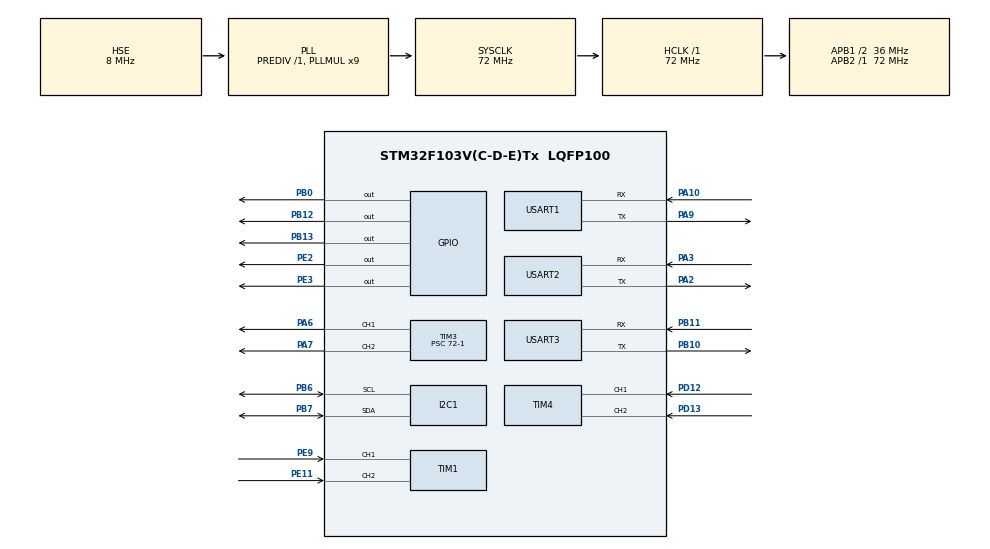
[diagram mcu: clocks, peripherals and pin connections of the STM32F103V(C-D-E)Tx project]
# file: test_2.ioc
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Dma.I2C1_RX.2.Direction=DMA_PERIPH_TO_MEMORY
Dma.I2C1_RX.2.Instance=DMA1_Channel7
Dma.I2C1_RX.2.MemDataAlignment=DMA_MDATAALIGN_BYTE
Dma.I2C1_RX.2.MemInc=DMA_MINC_ENABLE
Dma.I2C1_RX.2.Mode=DMA_NORMAL
Dma.I2C1_RX.2.PeriphDataAlignment=DMA_PDATAALIGN_BYTE
Dma.I2C1_RX.2.PeriphInc=DMA_PINC_DISABLE
Dma.I2C1_RX.2.Priority=DMA_PRIORITY_LOW
Dma.I2C1_TX.3.Direction=DMA_MEMORY_TO_PERIPH
Dma.I2C1_TX.3.Instance=DMA1_Channel6
Dma.I2C1_TX.3.MemDataAlignment=DMA_MDATAALIGN_BYTE
Dma.I2C1_TX.3.MemInc=DMA_MINC_ENABLE
Dma.I2C1_TX.3.Mode=DMA_NORMAL
Dma.I2C1_TX.3.PeriphDataAlignment=DMA_PDATAALIGN_BYTE
Dma.I2C1_TX.3.PeriphInc=DMA_PINC_DISABLE
Dma.I2C1_TX.3.Priority=DMA_PRIORITY_LOW
Dma.Request0=USART1_RX
Dma.Request1=USART1_TX
Dma.Request2=I2C1_RX
Dma.Request3=I2C1_TX
Dma.USART1_RX.0.Direction=DMA_PERIPH_TO_MEMORY
Dma.USART1_RX.0.Instance=DMA1_Channel5
Dma.USART1_RX.0.MemDataAlignment=DMA_MDATAALIGN_BYTE
Dma.USART1_RX.0.MemInc=DMA_MINC_ENABLE
Dma.USART1_RX.0.Mode=DMA_NORMAL
Dma.USART1_RX.0.PeriphDataAlignment=DMA_PDATAALIGN_BYTE
Dma.USART1_RX.0.PeriphInc=DMA_PINC_DISABLE
Dma.USART1_RX.0.Priority=DMA_PRIORITY_LOW
Dma.USART1_TX.1.Direction=DMA_MEMORY_TO_PERIPH
Dma.USART1_TX.1.Instance=DMA1_Channel4
Dma.USART1_TX.1.MemDataAlignment=DMA_MDATAALIGN_BYTE
Dma.USART1_TX.1.MemInc=DMA_MINC_ENABLE
Dma.USART1_TX.1.Mode=DMA_NORMAL
Dma.USART1_TX.1.PeriphDataAlignment=DMA_PDATAALIGN_BYTE
Dma.USART1_TX.1.PeriphInc=DMA_PINC_DISABLE
Dma.USART1_TX.1.Priority=DMA_PRIORITY_LOW
I2C1.I2C_Mode=I2C_Fast
Mcu.Family=STM32F1
Mcu.Name=STM32F103V(C-D-E)Tx
Mcu.Package=LQFP100
NVIC.DMA1_Channel4_IRQn=true\:0\:0\:false\:false\:true\:false\:true\:true
NVIC.DMA1_Channel5_IRQn=true\:0\:0\:false\:false\:true\:false\:true\:true
NVIC.DMA1_Channel6_IRQn=true\:0\:0\:false\:false\:true\:false\:true\:true
NVIC.DMA1_Channel7_IRQn=true\:0\:0\:false\:false\:true\:false\:true\:true
NVIC.I2C1_ER_IRQn=true\:0\:0\:false\:false\:true\:true\:true\:true
NVIC.I2C1_EV_IRQn=true\:0\:0\:false\:false\:true\:true\:true\:true
NVIC.PriorityGroup=NVIC_PRIORITYGROUP_4
NVIC.TIM2_IRQn=true\:0\:0\:false\:false\:true\:true\:true\:true
NVIC.USART1_IRQn=true\:0\:0\:false\:false\:true\:false\:true\:true
NVIC.USART2_IRQn=true\:0\:0\:false\:false\:true\:true\:true\:true
NVIC.USART3_IRQn=true\:0\:0\:false\:false\:true\:true\:true\:true
OSC_IN.Mode=HSE-External-Oscillator
OSC_IN.Signal=RCC_OSC_IN
OSC_OUT.Mode=HSE-External-Oscillator
OSC_OUT.Signal=RCC_OSC_OUT
PA10.Mode=Asynchronous
PA10.Signal=USART1_RX
PA13.Mode=Serial_Wire
PA13.Signal=SYS_JTMS-SWDIO
PA14.Mode=Serial_Wire
PA14.Signal=SYS_JTCK-SWCLK
PA2.Mode=Asynchronous
PA2.Signal=USART2_TX
PA3.Mode=Asynchronous
PA3.Signal=USART2_RX
PA6.Signal=S_TIM3_CH1
PA7.Signal=S_TIM3_CH2
PA9.Mode=Asynchronous
PA9.Signal=USART1_TX
PB0.PinState=GPIO_PIN_RESET
PB0.Signal=GPIO_Output
PB10.Mode=Asynchronous
PB10.Signal=USART3_TX
PB11.Mode=Asynchronous
PB11.Signal=USART3_RX
PB12.Signal=GPIO_Output
PB13.Signal=GPIO_Output
PB6.Mode=I2C
PB6.Signal=I2C1_SCL
PB7.Mode=I2C
PB7.Signal=I2C1_SDA
PD12.GPIO_PuPd=GPIO_PULLUP
PD12.Signal=S_TIM4_CH1
PD13.GPIO_PuPd=GPIO_PULLUP
PD13.Signal=S_TIM4_CH2
PE11.GPIO_PuPd=GPIO_PULLUP
PE11.Signal=S_TIM1_CH2
PE2.Signal=GPIO_Output
PE3.Signal=GPIO_Output
PE9.GPIO_PuPd=GPIO_PULLUP
PE9.Signal=S_TIM1_CH1
ProjectManager.HeapSize=0x200
ProjectManager.StackSize=0x400
ProjectManager.TargetToolchain=MDK-ARM V5.32
RCC.AHBFreq_Value=72000000
RCC.APB1CLKDivider=RCC_HCLK_DIV2
RCC.APB1Freq_Value=36000000
RCC.APB1TimFreq_Value=72000000
RCC.APB2Freq_Value=72000000
RCC.APB2TimFreq_Value=72000000
RCC.HCLKFreq_Value=72000000
RCC.PLLMUL=RCC_PLL_MUL9
RCC.PLLSourceVirtual=RCC_PLLSOURCE_HSE
RCC.SYSCLKFreq_VALUE=72000000
RCC.SYSCLKSource=RCC_SYSCLKSOURCE_PLLCLK
RCC.USBFreq_Value=72000000
SH.S_TIM1_CH1.0=TIM1_CH1,Encoder_Interface
SH.S_TIM1_CH2.0=TIM1_CH2,Encoder_Interface
SH.S_TIM3_CH1.0=TIM3_CH1,PWM Generation1 CH1
SH.S_TIM3_CH2.0=TIM3_CH2,PWM Generation2 CH2
SH.S_TIM4_CH1.0=TIM4_CH1,Encoder_Interface
SH.S_TIM4_CH2.0=TIM4_CH2,Encoder_Interface
TIM1.EncoderMode=TIM_ENCODERMODE_TI12
TIM1.IC1Filter=6
TIM1.IC2Filter=6
TIM1.TIM_MasterSlaveMode=TIM_MASTERSLAVEMODE_ENABLE
TIM2.Period=10-1
TIM2.Prescaler=7200-1
TIM3.Channel-PWM\ Generation1\ CH1=TIM_CHANNEL_1
TIM3.Channel-PWM\ Generation2\ CH2=TIM_CHANNEL_2
TIM3.Period=1000-1
TIM3.Prescaler=72-1
TIM3.TIM_MasterSlaveMode=TIM_MASTERSLAVEMODE_ENABLE
TIM4.EncoderMode=TIM_ENCODERMODE_TI12
USART1.VirtualMode=VM_ASYNC
USART2.VirtualMode=VM_ASYNC
USART3.VirtualMode=VM_ASYNC
VP_TIM2_VS_ClockSourceINT.Mode=Internal
VP_TIM3_VS_ClockSourceINT.Mode=Internal
board=custom

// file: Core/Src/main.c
/* USER CODE BEGIN Header */
/**
  ******************************************************************************
  * @file           : main.c
  * @brief          : Main program body
  ******************************************************************************
  * @attention
  *
  * Copyright (c) 2024 STMicroelectronics.
  * All rights reserved.
  *
  * This software is licensed under terms that can be found in the LICENSE file
  * in the root directory of this software component.
  * If no LICENSE file comes with this software, it is provided AS-IS.
  *
  ******************************************************************************
  */
/* USER CODE END Header */
#include "main.h"
#include "dma.h"
#include "i2c.h"
#include "tim.h"
#include "usart.h"
#include "gpio.h"

/* USER CODE BEGIN Includes */
#include "sw_i2c.h"
#include "Moto.h"
#include <stdio.h>
#include <string.h>

/* USER CODE END Includes */

/* USER CODE BEGIN PTD */
sw_i2c_interface_t i2c_interface =
{
  .sda_in = sda_in,
  .scl_out = scl_out,
  .sda_out = sda_out,
  .user_data = 0, //用户数据，可在输入输出函数里得到
};

Moto_PIDController pid_Left;
Moto_PIDController pid_Right;
/* USER CODE END PTD */

/* USER CODE BEGIN PV */

// uint8_t graySensor_state = 0;
// uint8_t grayData;
volatile uint8_t count;
uint8_t scan_addr[128];
uint8_t gray_sensor[8];

// 串口接收数据�?????'a' openmv接收到单片机命令，正在应答；'fx' openmv在开始阶段识别的数据，x为目标房间号�?????
//             'dxx' openmv在寻找房间时识别的数据，xx为转向命令，l左转，r右转，s直走(只转向一次发x0)�?????
uint8_t uartRxBuffer[10];
short encoderLeft, encoderRight;
// short encoder = 0;
/* USER CODE END PV */

void SystemClock_Config(void);
/* USER CODE BEGIN PFP */
int fputc(int ch, FILE *f)
{
  HAL_UART_Transmit(&huart1, (uint8_t *)&ch, 1, 0xffff);
  return ch;
}
int fgetc(FILE *f)
{
  uint8_t ch = 0;
  HAL_UART_Receive(&huart1, &ch, 1, 0xffff);
  return ch;
}

// uint8_t graySensorReadData_Parallel()
// {
//   uint8_t ret;
//   ret |= HAL_GPIO_ReadPin(GPIOE, GPIO_PIN_2) << 0;
//   ret |= HAL_GPIO_ReadPin(GPIOE, GPIO_PIN_0) << 1;
//   ret |= HAL_GPIO_ReadPin(GPIOD, GPIO_PIN_11) << 2;
//   ret |= HAL_GPIO_ReadPin(GPIOD, GPIO_PIN_4) << 3;
//   ret |= HAL_GPIO_ReadPin(GPIOD, GPIO_PIN_15) << 4;
//   ret |= HAL_GPIO_ReadPin(GPIOD, GPIO_PIN_1) << 5;
//   ret |= HAL_GPIO_ReadPin(GPIOE, GPIO_PIN_8) << 6;
//   ret |= HAL_GPIO_ReadPin(GPIOE, GPIO_PIN_10) << 7;
//   HAL_Delay(1);
//   return ret;
// }
void HAL_UARTEx_RxEventCallback(UART_HandleTypeDef *huart, uint16_t Size)
{
  uint8_t sizeOfBuffer = 0;
  if (huart->Instance == USART2)
  {
    sizeOfBuffer = sizeof(uartRxBuffer);
    if (sizeOfBuffer == 1 && uartRxBuffer[0] == 'a')
    {
      printf("OpenMV has answered");
    }
    else if (sizeOfBuffer >= 2)
    {
      if (uartRxBuffer[0]  == 'f')
      {
        switch (uartRxBuffer[1])
        {

          default:
            break;
        }
      }
      else if (uartRxBuffer[0] == 'd')
      {
        switch (uartRxBuffer[1])
        {
          default:
            break;
        }
      }
    }
  }
}

void HAL_TIM_PeriodElapsedCallback(TIM_HandleTypeDef *htim)
{
  static int32_t timConter = 0;
  timConter++;
  if (htim->Instance == TIM2)
  {

    if (timConter % 10 == 0)
    {

      encoderRight = GetEncoder(RIGHT_ENCODER_TIM);
      encoderLeft = GetEncoder(LEFT_ENCODER_TIM);
      printf("%hd, %hd\n", encoderRight, encoderLeft);
    }
    if (timConter >= 500)
    {
      Digital_Dataget(&i2c_interface, gray_sensor);

      // for (int i = 0; i < 8; i++)
      // {
      //   printf("%d", gray_sensor[i]);
      // }
      printf("\n");
      timConter = 0;
    }

  }
}

/* USER CODE END PFP */

int main(void)
{

  /* MCU Configuration--------------------------------------------------------*/

  /* Reset of all peripherals, Initializes the Flash interface and the Systick. */
  HAL_Init();

  /* USER CODE BEGIN Init */
  // sw_i2c_interface_t i2c_interface =
  // {
  //   .sda_in = sda_in,
  //   .scl_out = scl_out,
  //   .sda_out = sda_out,
  //   .user_data = 0, //用户数据，可在输入输出函数里得到
  // };
  /* USER CODE END Init */

  /* Configure the system clock */
  SystemClock_Config();

  /* Initialize all configured peripherals */
  MX_GPIO_Init();
  MX_DMA_Init();
  MX_USART1_UART_Init();
  MX_TIM2_Init();
  MX_I2C1_Init();
  MX_TIM1_Init();
  MX_TIM3_Init();
  MX_TIM4_Init();
  MX_USART2_UART_Init();
  MX_USART3_UART_Init();
  /* USER CODE BEGIN 2 */

  SWIIC_GPIO_Init();
  DWT_Init();

  HAL_TIM_Base_Start_IT(&htim2);

  HAL_TIM_Encoder_Start(&htim1, TIM_CHANNEL_1);
  HAL_TIM_Encoder_Start(&htim1, TIM_CHANNEL_2);
  HAL_TIM_Encoder_Start(&htim4, TIM_CHANNEL_2);
  HAL_TIM_Encoder_Start(&htim4, TIM_CHANNEL_2);

  HAL_TIM_PWM_Start(&htim3, TIM_CHANNEL_1);
  HAL_TIM_PWM_Start(&htim3, TIM_CHANNEL_2);

  // __HAL_UART_ENABLE_IT(&huart2, UART_IT_IDLE);

  // HAL_UARTEx_ReceiveToIdle_DMA(&huart2, uartRxBuffer, sizeof(uartRxBuffer));
  // __HAL_DMA_DISABLE_IT(&hdma_usart2_rx, DMA_IT_HT);

  // MotoPID_Init(&pid_Left, 0.1, 0.1, 0.1);
  // MotoPID_Init(&pid_Right, 0.1, 0.1, 0.1);

	HAL_GPIO_WritePin(RIGHT_IN_PORT, RIGHT_IN1, GPIO_PIN_RESET);
  HAL_GPIO_WritePin(RIGHT_IN_PORT, RIGHT_IN2, GPIO_PIN_SET);
  HAL_GPIO_WritePin(LEFT_IN_PORT, LEFT_IN1, GPIO_PIN_SET);
  HAL_GPIO_WritePin(LEFT_IN_PORT, LEFT_IN2, GPIO_PIN_RESET);

  LEFT_PWM = 0;
  RIGHT_PWM = 0;
  /* USER CODE END 2 */

  /* Infinite loop */
  /* USER CODE BEGIN WHILE */
  printf("ready\n");
  while (1)
  {

    // Digital_Dataget(&i2c_interface, gray_sensor);

    // for (int i = 0; i < 8; i++)
    // {
    //   printf("%d", gray_sensor[i]);
    // }
    // printf("\n");
    // HAL_Delay(500);

    /* USER CODE END WHILE */

  }
}

void SystemClock_Config(void)
{
  RCC_OscInitTypeDef RCC_OscInitStruct = {0};
  RCC_ClkInitTypeDef RCC_ClkInitStruct = {0};

  /** Initializes the RCC Oscillators according to the specified parameters
  * in the RCC_OscInitTypeDef structure.
  */
  RCC_OscInitStruct.OscillatorType = RCC_OSCILLATORTYPE_HSE;
  RCC_OscInitStruct.HSEState = RCC_HSE_ON;
  RCC_OscInitStruct.HSEPredivValue = RCC_HSE_PREDIV_DIV1;
  RCC_OscInitStruct.HSIState = RCC_HSI_ON;
  RCC_OscInitStruct.PLL.PLLState = RCC_PLL_ON;
  RCC_OscInitStruct.PLL.PLLSource = RCC_PLLSOURCE_HSE;
  RCC_OscInitStruct.PLL.PLLMUL = RCC_PLL_MUL9;
  if (HAL_RCC_OscConfig(&RCC_OscInitStruct) != HAL_OK)
  {
    Error_Handler();
  }

  /** Initializes the CPU, AHB and APB buses clocks
  */
  RCC_ClkInitStruct.ClockType = RCC_CLOCKTYPE_HCLK|RCC_CLOCKTYPE_SYSCLK
                              |RCC_CLOCKTYPE_PCLK1|RCC_CLOCKTYPE_PCLK2;
  RCC_ClkInitStruct.SYSCLKSource = RCC_SYSCLKSOURCE_PLLCLK;
  RCC_ClkInitStruct.AHBCLKDivider = RCC_SYSCLK_DIV1;
  RCC_ClkInitStruct.APB1CLKDivider = RCC_HCLK_DIV2;
  RCC_ClkInitStruct.APB2CLKDivider = RCC_HCLK_DIV1;

  if (HAL_RCC_ClockConfig(&RCC_ClkInitStruct, FLASH_LATENCY_2) != HAL_OK)
  {
    Error_Handler();
  }
}

void Error_Handler(void)
{
  __disable_irq();
  while (1)
  {
  }
}
